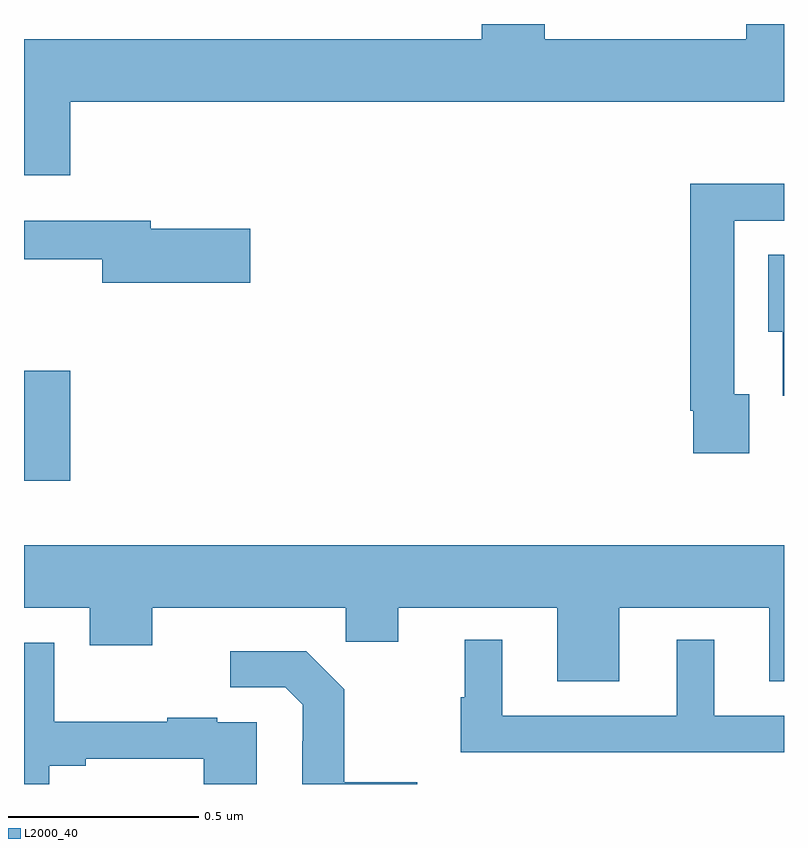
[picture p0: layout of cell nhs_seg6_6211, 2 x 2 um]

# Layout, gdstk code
import gdstk
lib = gdstk.Library(unit=1e-6, precision=1e-09)
def R(c, l, rs):  # rectangles x0, y0, x1, y1
    for r in rs: c.add(gdstk.rectangle(r[:2], r[2:], *l))
def P(c, l, *ps):  # polygons
    for p in ps: c.add(gdstk.Polygon(p, *l))
L2000_40 = (2000, 40)

nhs_seg6_6211 = lib.new_cell('nhs_seg6_6211')
R(nhs_seg6_6211, L2000_40, [(192,986.298,192.122,986.587)])
P(nhs_seg6_6211, L2000_40, [(192.122,987.296),(194,987.296),(194,987.5),(193.901,987.5),(193.901,987.46),(193.37,987.46),(193.37,987.5),(193.205,987.5),(193.205,987.46),(192,987.46),(192,987.102),(192.122,987.102)],
  [(193.909,986.526),(193.869,986.526),(193.869,986.982),(194,986.982),(194,987.08),(193.753,987.08),(193.753,986.482),(193.761,986.482),(193.761,986.37),(193.909,986.37)],
  [(192.595,986.961),(192.334,986.961),(192.334,986.982),(192,986.982),(192,986.881),(192.206,986.881),(192.206,986.819),(192.595,986.819)],
  [(194,986.893),(193.958,986.893),(193.958,986.69),(193.997,986.69),(193.997,986.522),(194,986.522)],
  [(193.567,985.964),(193.961,985.964),(193.961,985.77),(194,985.77),(194,986.128),(192,986.128),(192,985.964),(192.173,985.964),(192.173,985.865),(192.337,985.865),(192.337,985.964),(192.847,985.964),(192.847,985.874),(192.985,985.874),(192.985,985.964),(193.403,985.964),(193.403,985.77),(193.567,985.77)],
  [(194,985.68),(193.816,985.68),(193.816,985.879),(193.718,985.879),(193.718,985.68),(193.258,985.68),(193.258,985.879),(193.16,985.879),(193.16,985.728),(193.149,985.728),(193.149,985.584),(194,985.584)],
  [(192.067,985.548),(192.163,985.548),(192.163,985.566),(192.473,985.566),(192.473,985.5),(192.613,985.5),(192.613,985.662),(192.509,985.662),(192.509,985.675),(192.377,985.675),(192.377,985.664),(192.079,985.664),(192.079,985.872),(192,985.872),(192,985.5),(192.067,985.5)],
  [(193.035,985.504),(192.843,985.504),(192.843,985.749),(192.743,985.849),(192.543,985.849),(192.543,985.755),(192.687,985.755),(192.734,985.708),(192.734,985.613),(192.732,985.613),(192.732,985.5),(193.035,985.5)])

lib.write_gds('nhs_seg6_6211.gds')
